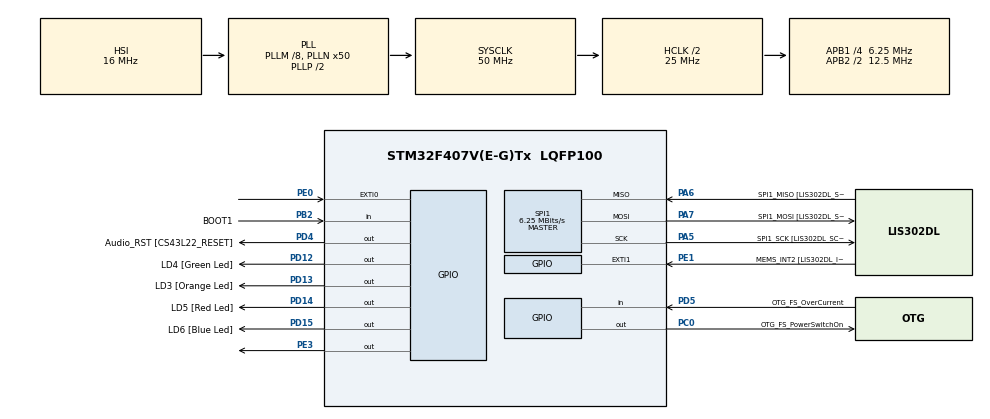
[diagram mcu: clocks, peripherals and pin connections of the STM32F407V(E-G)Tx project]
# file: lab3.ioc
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Mcu.Family=STM32F4
Mcu.Name=STM32F407V(E-G)Tx
Mcu.Package=LQFP100
NVIC.EXTI0_IRQn=true\:6\:0\:true\:false\:true\:true\:true\:true
NVIC.PriorityGroup=NVIC_PRIORITYGROUP_4
NVIC.TIM7_IRQn=true\:0\:0\:false\:false\:true\:false\:true\:true
NVIC.TimeBase=TIM7_IRQn
NVIC.TimeBaseIP=TIM7
PA10.GPIO_Label=OTG_FS_ID
PA10.GPIO_Mode=GPIO_MODE_AF_PP
PA10.GPIO_PuPd=GPIO_NOPULL
PA10.GPIO_Speed=GPIO_SPEED_FREQ_LOW
PA10.Signal=USB_OTG_FS_ID
PA11.GPIO_Label=OTG_FS_DM
PA11.GPIO_Mode=GPIO_MODE_AF_PP
PA11.GPIO_PuPd=GPIO_NOPULL
PA11.GPIO_Speed=GPIO_SPEED_FREQ_LOW
PA11.Signal=USB_OTG_FS_DM
PA12.GPIO_Label=OTG_FS_DP
PA12.GPIO_Mode=GPIO_MODE_AF_PP
PA12.GPIO_PuPd=GPIO_NOPULL
PA12.GPIO_Speed=GPIO_SPEED_FREQ_LOW
PA12.Signal=USB_OTG_FS_DP
PA13.GPIO_Label=SWDIO
PA13.Signal=SYS_JTMS-SWDIO
PA14.GPIO_Label=SWCLK
PA14.Signal=SYS_JTCK-SWCLK
PA4.GPIO_Label=I2S3_WS [CS43L22_LRCK]
PA4.GPIO_Mode=GPIO_MODE_AF_PP
PA4.GPIO_PuPd=GPIO_NOPULL
PA4.GPIO_Speed=GPIO_SPEED_FREQ_LOW
PA4.Signal=I2S3_WS
PA5.GPIO_Label=SPI1_SCK [LIS302DL_SCL/SPC]
PA5.GPIO_Mode=GPIO_MODE_AF_PP
PA5.GPIO_PuPd=GPIO_NOPULL
PA5.GPIO_Speed=GPIO_SPEED_FREQ_LOW
PA5.Mode=Full_Duplex_Master
PA5.Signal=SPI1_SCK
PA6.GPIO_Label=SPI1_MISO [LIS302DL_SDO]
PA6.GPIO_Mode=GPIO_MODE_AF_PP
PA6.GPIO_PuPd=GPIO_NOPULL
PA6.GPIO_Speed=GPIO_SPEED_FREQ_LOW
PA6.Mode=Full_Duplex_Master
PA6.Signal=SPI1_MISO
PA7.GPIO_Label=SPI1_MOSI [LIS302DL_SDA/SDI/SDO]
PA7.GPIO_Mode=GPIO_MODE_AF_PP
PA7.GPIO_PuPd=GPIO_NOPULL
PA7.GPIO_Speed=GPIO_SPEED_FREQ_LOW
PA7.Mode=Full_Duplex_Master
PA7.Signal=SPI1_MOSI
PA9.GPIO_Label=VBUS_FS
PA9.GPIO_Mode=GPIO_MODE_INPUT
PA9.GPIO_PuPd=GPIO_NOPULL
PA9.Signal=USB_OTG_FS_VBUS
PB10.GPIO_Label=CLK_IN [MP45DT02_CLK]
PB10.GPIO_Mode=GPIO_MODE_AF_PP
PB10.GPIO_PuPd=GPIO_NOPULL
PB10.GPIO_Speed=GPIO_SPEED_FREQ_LOW
PB10.Signal=I2S2_CK
PB2.GPIO_Label=BOOT1
PB2.GPIO_Mode=GPIO_MODE_INPUT
PB2.GPIO_PuPd=GPIO_NOPULL
PB2.Signal=GPIO_Input
PB3.GPIO_Label=SWO
PB3.Signal=SYS_JTDO-SWO
PB6.GPIO_Label=Audio_SCL [CS43L22_SCL]
PB6.GPIO_Mode=GPIO_MODE_AF_OD
PB6.GPIO_PuPd=GPIO_NOPULL
PB6.GPIO_Speed=GPIO_SPEED_FREQ_LOW
PB6.Signal=I2C1_SCL
PB9.GPIO_Label=Audio_SDA [CS43L22_SDA]
PB9.GPIO_Mode=GPIO_MODE_AF_OD
PB9.GPIO_PuPd=GPIO_NOPULL
PB9.GPIO_Speed=GPIO_SPEED_FREQ_LOW
PB9.Signal=I2C1_SDA
PC0.GPIO_Label=OTG_FS_PowerSwitchOn
PC0.GPIO_PuPd=GPIO_NOPULL
PC0.GPIO_Speed=GPIO_SPEED_FREQ_LOW
PC0.PinState=GPIO_PIN_SET
PC0.Signal=GPIO_Output
PC10.GPIO_Label=I2S3_SCK [CS43L22_SCLK]
PC10.GPIO_Mode=GPIO_MODE_AF_PP
PC10.GPIO_PuPd=GPIO_NOPULL
PC10.GPIO_Speed=GPIO_SPEED_FREQ_LOW
PC10.Signal=I2S3_CK
PC12.GPIO_Label=I2S3_SD [CS43L22_SDIN]
PC12.GPIO_Mode=GPIO_MODE_AF_PP
PC12.GPIO_PuPd=GPIO_NOPULL
PC12.GPIO_Speed=GPIO_SPEED_FREQ_LOW
PC12.Signal=I2S3_SD
PC14-OSC32_IN.GPIO_Label=PC14-OSC32_IN
PC14-OSC32_IN.Signal=RCC_OSC32_IN
PC15-OSC32_OUT.GPIO_Label=PC15-OSC32_OUT
PC15-OSC32_OUT.Signal=RCC_OSC32_OUT
PC3.GPIO_Label=PDM_OUT [MP45DT02_DOUT]
PC3.GPIO_Mode=GPIO_MODE_AF_PP
PC3.GPIO_PuPd=GPIO_NOPULL
PC3.GPIO_Speed=GPIO_SPEED_FREQ_LOW
PC3.Signal=I2S2_SD
PC7.GPIO_Label=I2S3_MCK [CS43L22_MCLK]
PC7.GPIO_Mode=GPIO_MODE_AF_PP
PC7.GPIO_PuPd=GPIO_NOPULL
PC7.GPIO_Speed=GPIO_SPEED_FREQ_LOW
PC7.Signal=I2S3_MCK
PD12.GPIO_Label=LD4 [Green Led]
PD12.GPIO_PuPd=GPIO_NOPULL
PD12.GPIO_Speed=GPIO_SPEED_FREQ_LOW
PD12.Signal=GPIO_Output
PD13.GPIO_Label=LD3 [Orange Led]
PD13.GPIO_PuPd=GPIO_NOPULL
PD13.GPIO_Speed=GPIO_SPEED_FREQ_LOW
PD13.Signal=GPIO_Output
PD14.GPIO_Label=LD5 [Red Led]
PD14.GPIO_PuPd=GPIO_NOPULL
PD14.GPIO_Speed=GPIO_SPEED_FREQ_LOW
PD14.Signal=GPIO_Output
PD15.GPIO_Label=LD6 [Blue Led]
PD15.GPIO_PuPd=GPIO_NOPULL
PD15.GPIO_Speed=GPIO_SPEED_FREQ_LOW
PD15.Signal=GPIO_Output
PD4.GPIO_Label=Audio_RST [CS43L22_RESET]
PD4.GPIO_PuPd=GPIO_NOPULL
PD4.GPIO_Speed=GPIO_SPEED_FREQ_LOW
PD4.Signal=GPIO_Output
PD5.GPIO_Label=OTG_FS_OverCurrent
PD5.GPIO_Mode=GPIO_MODE_INPUT
PD5.GPIO_PuPd=GPIO_NOPULL
PD5.Signal=GPIO_Input
PE0.Signal=GPXTI0
PE1.GPIO_Label=MEMS_INT2 [LIS302DL_INT2]
PE1.GPIO_ModeDefaultEXTI=GPIO_MODE_EVT_RISING
PE1.GPIO_PuPd=GPIO_NOPULL
PE1.Signal=GPXTI1
PE3.PinState=GPIO_PIN_SET
PE3.Signal=GPIO_Output
PH0-OSC_IN.GPIO_Label=PH0-OSC_IN
PH0-OSC_IN.Signal=RCC_OSC_IN
PH1-OSC_OUT.GPIO_Label=PH1-OSC_OUT
PH1-OSC_OUT.Signal=RCC_OSC_OUT
ProjectManager.HeapSize=0x200
ProjectManager.StackSize=0x400
ProjectManager.TargetToolchain=STM32CubeIDE
RCC.48MHZClocksFreq_Value=14285714.285714285
RCC.AHBCLKDivider=RCC_SYSCLK_DIV2
RCC.AHBFreq_Value=25000000
RCC.APB1CLKDivider=RCC_HCLK_DIV4
RCC.APB1Freq_Value=6250000
RCC.APB1TimFreq_Value=12500000
RCC.APB2CLKDivider=RCC_HCLK_DIV2
RCC.APB2Freq_Value=12500000
RCC.APB2TimFreq_Value=25000000
RCC.CortexFreq_Value=25000000
RCC.HCLKFreq_Value=25000000
RCC.HSE_VALUE=8000000
RCC.HSI_VALUE=16000000
RCC.LSE_VALUE=32768
RCC.PLLM=8
RCC.PLLN=50
RCC.PLLQ=7
RCC.SYSCLKFreq_VALUE=50000000
RCC.SYSCLKSource=RCC_SYSCLKSOURCE_PLLCLK
RCC.VCOOutputFreq_Value=100000000
SPI1.CalculateBaudRate=6.25 MBits/s
SPI1.Direction=SPI_DIRECTION_2LINES
SPI1.Mode=SPI_MODE_MASTER
SPI1.VirtualType=VM_MASTER
VP_SYS_VS_tim7.Mode=TIM7
board=STM32F407G-DISC1

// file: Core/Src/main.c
/* USER CODE BEGIN Header */
/**
  ******************************************************************************
  * @file           : main.c
  * @brief          : Main program body
  ******************************************************************************
  * @attention
  *
  * Copyright (c) 2026 STMicroelectronics.
  * All rights reserved.
  *
  * This software is licensed under terms that can be found in the LICENSE file
  * in the root directory of this software component.
  * If no LICENSE file comes with this software, it is provided AS-IS.
  *
  ******************************************************************************
  */
/* USER CODE END Header */
#include "main.h"

/* USER CODE BEGIN Includes */
#include "FreeRTOS.h"
#include "task.h"
#include "semphr.h"

/* USER CODE END Includes */

/* USER CODE BEGIN PM */
#define LIS3DSH_WHO_AM_I_ADDR                0x0F
#define LIS3DSH_STAT_ADDR                    0x18
#define LIS3DSH_CTRL_REG4_ADDR               0x20
#define LIS3DSH_CTRL_REG1_ADDR               0x21
#define LIS3DSH_CTRL_REG2_ADDR               0x22
#define LIS3DSH_CTRL_REG3_ADDR               0x23
#define LIS3DSH_CTRL_REG5_ADDR               0x24
#define LIS3DSH_CTRL_REG6_ADDR               0x25

#define LIS3DSH_STATUS_ADDR                  0x27

#define LIS3DSH_OUT_X_L_ADDR                 0x28
#define LIS3DSH_OUT_X_H_ADDR                 0x29
#define LIS3DSH_OUT_Y_L_ADDR                 0x2A
#define LIS3DSH_OUT_Y_H_ADDR                 0x2B
#define LIS3DSH_OUT_Z_L_ADDR                 0x2C
#define LIS3DSH_OUT_Z_H_ADDR                 0x2D

#define LIS3DSH_ST1_1_ADDR                   0x40
#define LIS3DSH_ST1_2_ADDR                   0x41
#define LIS3DSH_THRS1_1_ADDR                 0x57
#define LIS3DSH_MASK1_B_ADDR                 0x59
#define LIS3DSH_MASK1_A_ADDR                 0x5A
#define LIS3DSH_SETT1_ADDR                   0x5B
#define LIS3DSH_OUTS1_ADDR                   0x5F

/* USER CODE END PM */

SPI_HandleTypeDef hspi1;

/* USER CODE BEGIN PV */
TaskHandle_t xGreenTaskHandle = NULL;
TaskHandle_t xHandlerTaskHandle = NULL;
SemaphoreHandle_t xShakeSemaphore = NULL;
/* USER CODE END PV */

void SystemClock_Config(void);
static void MX_GPIO_Init(void);
static void MX_SPI1_Init(void);

/* USER CODE BEGIN 0 */
void MEMS_Write(uint8_t address,uint8_t data){
	HAL_GPIO_WritePin(GPIOE, GPIO_PIN_3, GPIO_PIN_RESET);
	HAL_SPI_Transmit(&hspi1,&address,1,10);
	HAL_SPI_Transmit(&hspi1,&data,1,10);
	HAL_GPIO_WritePin(GPIOE, GPIO_PIN_3,GPIO_PIN_SET);
}
void MEMS_Read(uint8_t address,uint8_t *data){
    address |= 0x80;
	HAL_GPIO_WritePin(GPIOE,GPIO_PIN_3,GPIO_PIN_RESET);
	HAL_SPI_Transmit(&hspi1,&address,1,10);
	HAL_SPI_Receive(&hspi1,data,1,10);
	HAL_GPIO_WritePin(GPIOE,GPIO_PIN_3,GPIO_PIN_SET);
}
void HAL_GPIO_EXTI_Callback(uint16_t GPIO_Pin)
{
    if(GPIO_Pin == GPIO_PIN_0) // 假設感測器 INT1 接在 PE0
    {
        BaseType_t xHigherPriorityTaskWoken = pdFALSE;

        // 1. 切換紅燈狀態 (Red LED: PD14)
        HAL_GPIO_TogglePin(GPIOD, GPIO_PIN_14);

        // 2. 釋放訊號量以解鎖 Handler Task
        xSemaphoreGiveFromISR(xShakeSemaphore, &xHigherPriorityTaskWoken);
        // 3. 進行上下文切換 (若有高優先權任務被喚醒)
        portYIELD_FROM_ISR(xHigherPriorityTaskWoken);
    }
}
void LIS3DSH_Init(void) {
	    // 軟體復位
	    MEMS_Write(LIS3DSH_CTRL_REG6_ADDR, 0x02);

	    // 基礎設定: 100Hz, XYZ 啟用 (手冊 P.24)
	    MEMS_Write(LIS3DSH_CTRL_REG4_ADDR, 0x67);

	    // 中斷設定: INT1 啟用, 高電平觸發 (手冊 P.23)
	    MEMS_Write(LIS3DSH_CTRL_REG3_ADDR, 0x48);

	    // FSM 設定: 全方向偵測 (手冊 P.26)
	    MEMS_Write(LIS3DSH_MASK1_B_ADDR, 0xFC);
	    MEMS_Write(LIS3DSH_MASK1_A_ADDR, 0xFC);
	    MEMS_Write(LIS3DSH_THRS1_1_ADDR, 0x55); // 門檻值

	    // 狀態指令 (手冊 P.27 & FSM 邏輯)
	    MEMS_Write(LIS3DSH_ST1_1_ADDR, 0x05); // State 1: GNTH1 (等待大於門檻)
	    MEMS_Write(LIS3DSH_ST1_2_ADDR, 0x11); // State 2: CONT (發中斷) + Next State 0 (跳回 State 1)

	    MEMS_Write(LIS3DSH_SETT1_ADDR, 0x01);

	    // 最後一步：開啟 SM1_EN (手冊 P.22)
	    MEMS_Write(LIS3DSH_CTRL_REG1_ADDR, 0x01);
}

void LED_Task(void *pvParameter)
{
	for(;;){
		HAL_GPIO_TogglePin(GPIOD, GPIO_PIN_12);
		vTaskDelay(pdMS_TO_TICKS(500));
	}

}
void vHandlerTask(void *pvParameters) {
    for (;;) {
        if (xSemaphoreTake(xShakeSemaphore, portMAX_DELAY) == pdPASS) {
            // 2. 暫停綠燈任務
            vTaskSuspend(xGreenTaskHandle);
//            HAL_GPIO_WritePin(GPIOD, GPIO_PIN_12, GPIO_PIN_RESET);

            // 3. 屏蔽中斷（避免閃爍期間的震動導致中斷嵌套）
            HAL_NVIC_DisableIRQ(EXTI0_IRQn);

            // 4. 橘燈閃爍 5 次
            for (int i = 0; i < 5; i++) {
                HAL_GPIO_TogglePin(GPIOD, GPIO_PIN_13);
                vTaskDelay(pdMS_TO_TICKS(200));
                HAL_GPIO_TogglePin(GPIOD, GPIO_PIN_13);
                vTaskDelay(pdMS_TO_TICKS(200));
            }

            // 5. 【關鍵】清除感測器中斷 (讓 INT1 引腳降回低電平)
            // 建議多讀幾次或者讀取 STATUS 確保完全清除
            LIS3DSH_Init();

            // 6. 恢復綠燈任務
            vTaskResume(xGreenTaskHandle);

            // 7. 【關鍵】徹底清除 STM32 內部的中斷標誌
            // 在閃爍期間發生的所有震動都會在 NVIC 留下 Pending 位元，必須在此刻清除
            __HAL_GPIO_EXTI_CLEAR_IT(GPIO_PIN_0);
            HAL_NVIC_ClearPendingIRQ(EXTI0_IRQn);

            // 8. 重新開啟中斷監控
            HAL_NVIC_EnableIRQ(EXTI0_IRQn);
        }
    }
}
/* USER CODE END 0 */

int main(void)
{

  /* MCU Configuration--------------------------------------------------------*/

  /* Reset of all peripherals, Initializes the Flash interface and the Systick. */
  HAL_Init();

  /* Configure the system clock */
  SystemClock_Config();

  /* Initialize all configured peripherals */
  MX_GPIO_Init();
  MX_SPI1_Init();
  /* USER CODE BEGIN 2 */
  LIS3DSH_Init();

  xShakeSemaphore = xSemaphoreCreateBinary();
  xTaskCreate(LED_Task, "GreenTask", 128, NULL, 1, &xGreenTaskHandle);
  xTaskCreate(vHandlerTask, "HandlerTask", 128, NULL, 3, &xHandlerTaskHandle);
  vTaskStartScheduler();

  /* USER CODE END 2 */

  /* Infinite loop */
  while (1)
  {

  }
}

void SystemClock_Config(void)
{
  RCC_OscInitTypeDef RCC_OscInitStruct = {0};
  RCC_ClkInitTypeDef RCC_ClkInitStruct = {0};

  /** Configure the main internal regulator output voltage
  */
  __HAL_RCC_PWR_CLK_ENABLE();
  __HAL_PWR_VOLTAGESCALING_CONFIG(PWR_REGULATOR_VOLTAGE_SCALE1);

  /** Initializes the RCC Oscillators according to the specified parameters
  * in the RCC_OscInitTypeDef structure.
  */
  RCC_OscInitStruct.OscillatorType = RCC_OSCILLATORTYPE_HSI;
  RCC_OscInitStruct.HSIState = RCC_HSI_ON;
  RCC_OscInitStruct.HSICalibrationValue = RCC_HSICALIBRATION_DEFAULT;
  RCC_OscInitStruct.PLL.PLLState = RCC_PLL_ON;
  RCC_OscInitStruct.PLL.PLLSource = RCC_PLLSOURCE_HSI;
  RCC_OscInitStruct.PLL.PLLM = 8;
  RCC_OscInitStruct.PLL.PLLN = 50;
  RCC_OscInitStruct.PLL.PLLP = RCC_PLLP_DIV2;
  RCC_OscInitStruct.PLL.PLLQ = 7;
  if (HAL_RCC_OscConfig(&RCC_OscInitStruct) != HAL_OK)
  {
    Error_Handler();
  }

  /** Initializes the CPU, AHB and APB buses clocks
  */
  RCC_ClkInitStruct.ClockType = RCC_CLOCKTYPE_HCLK|RCC_CLOCKTYPE_SYSCLK
                              |RCC_CLOCKTYPE_PCLK1|RCC_CLOCKTYPE_PCLK2;
  RCC_ClkInitStruct.SYSCLKSource = RCC_SYSCLKSOURCE_PLLCLK;
  RCC_ClkInitStruct.AHBCLKDivider = RCC_SYSCLK_DIV2;
  RCC_ClkInitStruct.APB1CLKDivider = RCC_HCLK_DIV4;
  RCC_ClkInitStruct.APB2CLKDivider = RCC_HCLK_DIV2;

  if (HAL_RCC_ClockConfig(&RCC_ClkInitStruct, FLASH_LATENCY_0) != HAL_OK)
  {
    Error_Handler();
  }
}

static void MX_SPI1_Init(void)
{

  /* SPI1 parameter configuration*/
  hspi1.Instance = SPI1;
  hspi1.Init.Mode = SPI_MODE_MASTER;
  hspi1.Init.Direction = SPI_DIRECTION_2LINES;
  hspi1.Init.DataSize = SPI_DATASIZE_8BIT;
  hspi1.Init.CLKPolarity = SPI_POLARITY_LOW;
  hspi1.Init.CLKPhase = SPI_PHASE_1EDGE;
  hspi1.Init.NSS = SPI_NSS_SOFT;
  hspi1.Init.BaudRatePrescaler = SPI_BAUDRATEPRESCALER_2;
  hspi1.Init.FirstBit = SPI_FIRSTBIT_MSB;
  hspi1.Init.TIMode = SPI_TIMODE_DISABLE;
  hspi1.Init.CRCCalculation = SPI_CRCCALCULATION_DISABLE;
  hspi1.Init.CRCPolynomial = 10;
  if (HAL_SPI_Init(&hspi1) != HAL_OK)
  {
    Error_Handler();
  }

}

static void MX_GPIO_Init(void)
{
  GPIO_InitTypeDef GPIO_InitStruct = {0};

  /* GPIO Ports Clock Enable */
  __HAL_RCC_GPIOE_CLK_ENABLE();
  __HAL_RCC_GPIOC_CLK_ENABLE();
  __HAL_RCC_GPIOH_CLK_ENABLE();
  __HAL_RCC_GPIOA_CLK_ENABLE();
  __HAL_RCC_GPIOB_CLK_ENABLE();
  __HAL_RCC_GPIOD_CLK_ENABLE();

  /*Configure GPIO pin Output Level */
  HAL_GPIO_WritePin(GPIOE, GPIO_PIN_3, GPIO_PIN_SET);

  /*Configure GPIO pin Output Level */
  HAL_GPIO_WritePin(OTG_FS_PowerSwitchOn_GPIO_Port, OTG_FS_PowerSwitchOn_Pin, GPIO_PIN_SET);

  /*Configure GPIO pin Output Level */
  HAL_GPIO_WritePin(GPIOD, LD4_Pin|LD3_Pin|LD5_Pin|LD6_Pin
                          |Audio_RST_Pin, GPIO_PIN_RESET);

  /*Configure GPIO pin : PE3 */
  GPIO_InitStruct.Pin = GPIO_PIN_3;
  GPIO_InitStruct.Mode = GPIO_MODE_OUTPUT_PP;
  GPIO_InitStruct.Pull = GPIO_NOPULL;
  GPIO_InitStruct.Speed = GPIO_SPEED_FREQ_LOW;
  HAL_GPIO_Init(GPIOE, &GPIO_InitStruct);

  /*Configure GPIO pin : OTG_FS_PowerSwitchOn_Pin */
  GPIO_InitStruct.Pin = OTG_FS_PowerSwitchOn_Pin;
  GPIO_InitStruct.Mode = GPIO_MODE_OUTPUT_PP;
  GPIO_InitStruct.Pull = GPIO_NOPULL;
  GPIO_InitStruct.Speed = GPIO_SPEED_FREQ_LOW;
  HAL_GPIO_Init(OTG_FS_PowerSwitchOn_GPIO_Port, &GPIO_InitStruct);

  /*Configure GPIO pin : PDM_OUT_Pin */
  GPIO_InitStruct.Pin = PDM_OUT_Pin;
  GPIO_InitStruct.Mode = GPIO_MODE_AF_PP;
  GPIO_InitStruct.Pull = GPIO_NOPULL;
  GPIO_InitStruct.Speed = GPIO_SPEED_FREQ_LOW;
  GPIO_InitStruct.Alternate = GPIO_AF5_SPI2;
  HAL_GPIO_Init(PDM_OUT_GPIO_Port, &GPIO_InitStruct);

  /*Configure GPIO pin : I2S3_WS_Pin */
  GPIO_InitStruct.Pin = I2S3_WS_Pin;
  GPIO_InitStruct.Mode = GPIO_MODE_AF_PP;
  GPIO_InitStruct.Pull = GPIO_NOPULL;
  GPIO_InitStruct.Speed = GPIO_SPEED_FREQ_LOW;
  GPIO_InitStruct.Alternate = GPIO_AF6_SPI3;
  HAL_GPIO_Init(I2S3_WS_GPIO_Port, &GPIO_InitStruct);

  /*Configure GPIO pin : BOOT1_Pin */
  GPIO_InitStruct.Pin = BOOT1_Pin;
  GPIO_InitStruct.Mode = GPIO_MODE_INPUT;
  GPIO_InitStruct.Pull = GPIO_NOPULL;
  HAL_GPIO_Init(BOOT1_GPIO_Port, &GPIO_InitStruct);

  /*Configure GPIO pin : CLK_IN_Pin */
  GPIO_InitStruct.Pin = CLK_IN_Pin;
  GPIO_InitStruct.Mode = GPIO_MODE_AF_PP;
  GPIO_InitStruct.Pull = GPIO_NOPULL;
  GPIO_InitStruct.Speed = GPIO_SPEED_FREQ_LOW;
  GPIO_InitStruct.Alternate = GPIO_AF5_SPI2;
  HAL_GPIO_Init(CLK_IN_GPIO_Port, &GPIO_InitStruct);

  /*Configure GPIO pins : LD4_Pin LD3_Pin LD5_Pin LD6_Pin
                           Audio_RST_Pin */
  GPIO_InitStruct.Pin = LD4_Pin|LD3_Pin|LD5_Pin|LD6_Pin
                          |Audio_RST_Pin;
  GPIO_InitStruct.Mode = GPIO_MODE_OUTPUT_PP;
  GPIO_InitStruct.Pull = GPIO_NOPULL;
  GPIO_InitStruct.Speed = GPIO_SPEED_FREQ_LOW;
  HAL_GPIO_Init(GPIOD, &GPIO_InitStruct);

  /*Configure GPIO pins : I2S3_MCK_Pin I2S3_SCK_Pin I2S3_SD_Pin */
  GPIO_InitStruct.Pin = I2S3_MCK_Pin|I2S3_SCK_Pin|I2S3_SD_Pin;
  GPIO_InitStruct.Mode = GPIO_MODE_AF_PP;
  GPIO_InitStruct.Pull = GPIO_NOPULL;
  GPIO_InitStruct.Speed = GPIO_SPEED_FREQ_LOW;
  GPIO_InitStruct.Alternate = GPIO_AF6_SPI3;
  HAL_GPIO_Init(GPIOC, &GPIO_InitStruct);

  /*Configure GPIO pin : VBUS_FS_Pin */
  GPIO_InitStruct.Pin = VBUS_FS_Pin;
  GPIO_InitStruct.Mode = GPIO_MODE_INPUT;
  GPIO_InitStruct.Pull = GPIO_NOPULL;
  HAL_GPIO_Init(VBUS_FS_GPIO_Port, &GPIO_InitStruct);

  /*Configure GPIO pins : OTG_FS_ID_Pin OTG_FS_DM_Pin OTG_FS_DP_Pin */
  GPIO_InitStruct.Pin = OTG_FS_ID_Pin|OTG_FS_DM_Pin|OTG_FS_DP_Pin;
  GPIO_InitStruct.Mode = GPIO_MODE_AF_PP;
  GPIO_InitStruct.Pull = GPIO_NOPULL;
  GPIO_InitStruct.Speed = GPIO_SPEED_FREQ_LOW;
  GPIO_InitStruct.Alternate = GPIO_AF10_OTG_FS;
  HAL_GPIO_Init(GPIOA, &GPIO_InitStruct);

  /*Configure GPIO pin : OTG_FS_OverCurrent_Pin */
  GPIO_InitStruct.Pin = OTG_FS_OverCurrent_Pin;
  GPIO_InitStruct.Mode = GPIO_MODE_INPUT;
  GPIO_InitStruct.Pull = GPIO_NOPULL;
  HAL_GPIO_Init(OTG_FS_OverCurrent_GPIO_Port, &GPIO_InitStruct);

  /*Configure GPIO pins : Audio_SCL_Pin Audio_SDA_Pin */
  GPIO_InitStruct.Pin = Audio_SCL_Pin|Audio_SDA_Pin;
  GPIO_InitStruct.Mode = GPIO_MODE_AF_OD;
  GPIO_InitStruct.Pull = GPIO_NOPULL;
  GPIO_InitStruct.Speed = GPIO_SPEED_FREQ_LOW;
  GPIO_InitStruct.Alternate = GPIO_AF4_I2C1;
  HAL_GPIO_Init(GPIOB, &GPIO_InitStruct);

  /*Configure GPIO pin : PE0 */
  GPIO_InitStruct.Pin = GPIO_PIN_0;
  GPIO_InitStruct.Mode = GPIO_MODE_IT_RISING;
  GPIO_InitStruct.Pull = GPIO_NOPULL;
  HAL_GPIO_Init(GPIOE, &GPIO_InitStruct);

  /*Configure GPIO pin : MEMS_INT2_Pin */
  GPIO_InitStruct.Pin = MEMS_INT2_Pin;
  GPIO_InitStruct.Mode = GPIO_MODE_EVT_RISING;
  GPIO_InitStruct.Pull = GPIO_NOPULL;
  HAL_GPIO_Init(MEMS_INT2_GPIO_Port, &GPIO_InitStruct);

  /* EXTI interrupt init*/
  HAL_NVIC_SetPriority(EXTI0_IRQn, 6, 0);
  HAL_NVIC_EnableIRQ(EXTI0_IRQn);

}

void HAL_TIM_PeriodElapsedCallback(TIM_HandleTypeDef *htim)
{
  if (htim->Instance == TIM7)
  {
    HAL_IncTick();
  }
}

void Error_Handler(void)
{
  __disable_irq();
  while (1)
  {
  }
}
